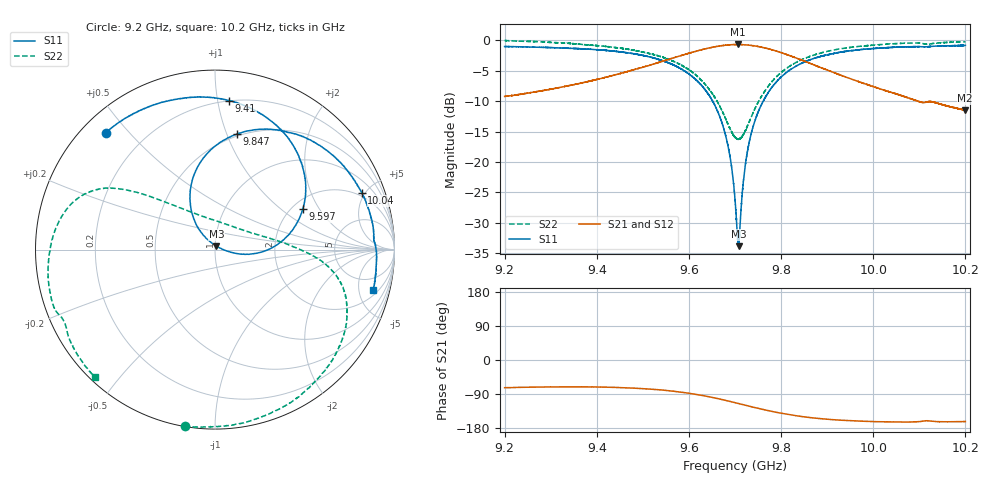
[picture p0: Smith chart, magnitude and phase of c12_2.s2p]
!Agilent Technologies,N5242A,MY51221714,A.09.90.19
!Agilent N5242A: A.09.90.19
!Date: Tuesday, March 26, 2024 15:43:17
!Correction: S11(Full 2 Port(1,2))
!S21(Full 2 Port(1,2))
!S12(Full 2 Port(1,2))
!S22(Full 2 Port(1,2))
!S2P File: Measurements: S11, S21, S12, S22:
# Hz S  dB  R 50
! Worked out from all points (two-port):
!   16001 points, 9.2 GHz to 10.2 GHz, reference 50 ohm
!   highest |S21| = -0.66 dB at 9.706 GHz (marker M1); lowest = -11.5 dB at 10.2 GHz (marker M2)
!   |S21| within 3 dB of the highest: 9.532963 GHz to 9.533358 GHz (395 kHz wide, 0.00414 % of centre); 9.533 GHz to 9.859 GHz (325.8 MHz wide, 3.36 % of centre)
!   lowest |S11| = -33.9 dB at 9.708 GHz (marker M3), VSWR 1.04, Z = 50.7 + j1.9 ohm
!   |S11| at or under -10 dB: 9.651 GHz to 9.761 GHz (109.8 MHz wide, 1.13 % of centre); 9.761301 GHz to 9.761315 GHz (14.24 kHz wide, 0.000146 % of centre)
!   |S22| runs from -16.3 to 0.0 dB; largest |S21 - S12| = 0.011
!   S11 on the Smith chart (normalised r, x): 9.2 GHz: 0.07, +0.43; 9.41 GHz: 0.20, +1.08; 9.597 GHz: 2.27, +1.45; 9.847 GHz: 0.48, +1.08; 10.04 GHz: 1.75, +4.76; 10.2 GHz: 2.64, -6.99
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9.2e9  -1.00 133.2  -9.23 -73.2  -9.21 -73.9  -0.02 -99.7
9.277188e9  -1.13 116.4  -8.33 -71.4  -8.33 -72.0  -0.23 -78.5
9.366688e9  -1.36 95.5  -7.01 -71.0  -6.99 -71.5  -0.65 -55.1
9.40975e9  -1.58 84.7  -6.25 -71.5  -6.23 -72.2  -0.91 -44.2
9.533375e9  -3.12 48.3  -3.66 -78.4  -3.64 -79.0  -2.52 -16.9
9.597e9  -5.38 24.8  -2.17 -87.2  -2.17 -87.8  -4.65 -5.4
9.638688e9  -8.46 7.4  -1.31 -95.9  -1.32 -96.4  -7.58 3.2
9.667625e9  -12.70 -4.9  -0.90 -103.3  -0.89 -103.7  -10.91 14.7
9.687812e9  -18.55 -10.1  -0.72 -109.0  -0.71 -109.5  -14.32 34.1
9.7e9  -26.17 -2.1  -0.67 -112.6  -0.67 -113.1  -15.89 55.5
9.70575e9  -32.86 34.8  -0.66 -114.3  -0.65 -114.8  -16.21 68.4
9.707938e9  -33.89 67.8  -0.67 -115.0  -0.66 -115.5  -16.26 73.7
9.725375e9  -19.02 128.7  -0.75 -120.2  -0.72 -120.8  -14.37 107.7
9.747875e9  -12.25 122.1  -0.97 -126.8  -0.95 -127.4  -10.53 129.3
9.788875e9  -6.90 103.8  -1.72 -137.8  -1.74 -138.4  -6.07 142.0
9.846688e9  -3.67 79.4  -3.28 -149.4  -3.29 -149.9  -3.09 150.8
9.866688e9  -3.08 71.9  -3.88 -152.4  -3.89 -152.9  -2.51 153.7
9.935375e9  -1.86 49.1  -5.89 -159.3  -5.90 -159.8  -1.30 165.5
1.003338e10  -1.17 22.6  -8.42 -163.2  -8.43 -163.7  -0.59 -174.0
1.003962e10  -1.14 21.1  -8.57 -163.3  -8.57 -163.8  -0.55 -172.7
1.019975e10  -0.82 -14.2  -11.50 -162.3  -11.48 -162.9  -0.22 -133.2
1.02e10  -0.81 -14.3  -11.49 -162.4  -11.50 -162.9  -0.22 -133.1
